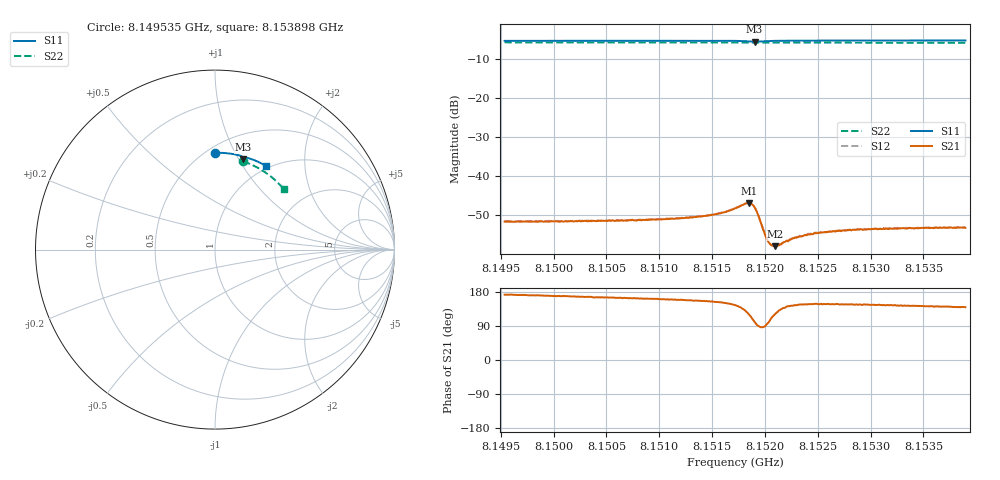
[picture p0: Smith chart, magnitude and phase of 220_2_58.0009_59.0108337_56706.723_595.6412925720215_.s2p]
#  HZ  S  RI  R  50.00
! Rohde & Schwarz Vector Network Analyzer
! Rohde-Schwarz,ZNB20-2Port,1311601062101988,3.16
! Created: UTC 3/21/2024, 1:00:07 AM
! freq[Hz]  re:S11  im:S11  re:S21  im:S21  re:S12  im:S12  re:S22  im:S22
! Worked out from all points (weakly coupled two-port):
!   401 points, 8.149535 GHz to 8.153898 GHz, reference 50 ohm
!   highest |S21| = -46.84 dB at 8.151848 GHz (marker M1); lowest = -57.9 dB at 8.152099 GHz (marker M2)
!   lowest |S11| = -5.6 dB at 8.151902 GHz (marker M3), VSWR 3.23, Z = 37.3 + j52.1 ohm
!   |S11| at or under -10 dB: nowhere
!   |S22| runs from -5.8 to -5.7 dB; largest |S21 - S12| = 0.00011
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8.1495354e9  -0.00221 0.5394  -0.00262 0.000346  -0.00262 0.000401  0.1571 0.4915
8.1502662e9  0.0491 0.5383  -0.00261 0.000603  -0.00264 0.000655  0.2012 0.4742
8.150997e9  0.1001 0.5323  -0.00265 0.000943  -0.00267 0.000961  0.2434 0.453
8.1512915e9  0.121 0.5283  -0.00275 0.00114  -0.00276 0.00117  0.2597 0.4433
8.1514442e9  0.132 0.5256  -0.00286 0.0013  -0.00284 0.00135  0.2682 0.4381
8.1516078e9  0.1443 0.5217  -0.00304 0.00166  -0.00304 0.00173  0.2769 0.4324
8.1517169e9  0.1529 0.5174  -0.00319 0.00224  -0.00317 0.00233  0.2828 0.4284
8.1518041e9  0.1587 0.5111  -0.00297 0.00324  -0.00292 0.00332  0.2874 0.4249
8.1518478e9  0.1593 0.5066  -0.00231 0.00392  -0.00227 0.00398  0.2895 0.4232
8.1518805e9  0.1573 0.5041  -0.00139 0.00413  -0.00138 0.00422  0.2909 0.422
8.1519023e9  0.1553 0.5039  -0.000728 0.00395  -0.000688 0.00398  0.2919 0.4214
8.151935e9  0.1534 0.5062  -1.75e-05 0.00323  2.49e-05 0.00327  0.2936 0.4203
8.1519896e9  0.1555 0.511  8.82e-05 0.002  0.000116 0.00199  0.2964 0.4183
8.1520223e9  0.1584 0.5127  -0.000149 0.00152  -0.000148 0.00156  0.2982 0.4171
8.152055e9  0.1614 0.5135  -0.000419 0.00127  -0.000392 0.00127  0.2999 0.4159
8.1520986e9  0.1655 0.5139  -0.000681 0.00108  -0.000697 0.00111  0.3022 0.4143
8.1521313e9  0.1685 0.5138  -0.000848 0.000995  -0.000861 0.00107  0.3039 0.413
8.1522731e9  0.18 0.5118  -0.00131 0.000944  -0.00132 0.000964  0.3111 0.4074
8.1524477e9  0.1926 0.5081  -0.00153 0.000982  -0.00158 0.001  0.3198 0.4004
8.1528622e9  0.2206 0.4977  -0.00174 0.00115  -0.00171 0.00117  0.3398 0.3829
8.1531785e9  0.2408 0.4888  -0.00174 0.00124  -0.00176 0.00128  0.3543 0.369
8.1538984e9  0.2852 0.4655  -0.00167 0.00143  -0.00168 0.00148  0.3851 0.3352
